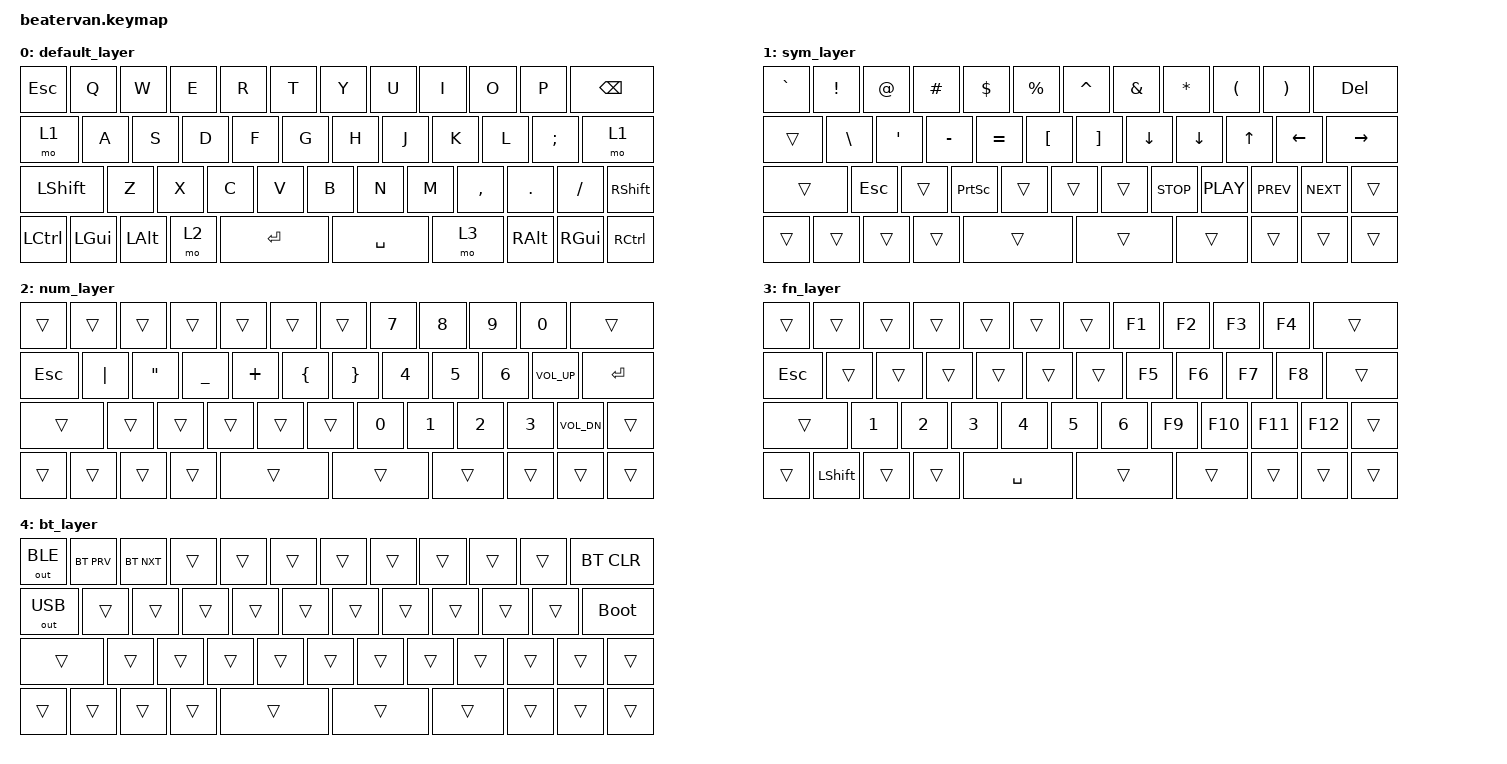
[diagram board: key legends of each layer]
/*
 * Copyright (c) 2023 The ZMK Contributors
 *
 * SPDX-License-Identifier: MIT
 */

#include <behaviors.dtsi>
#include <dt-bindings/zmk/bt.h>
#include <dt-bindings/zmk/keys.h>
#include <dt-bindings/zmk/outputs.h>

/ {
    combos {
        compatible = "zmk,combos";

        combo_boot {
            key-positions = <0 11>;
            bindings = <&bootloader>;
        };

        combo_unlock {
            key-positions = <0 12>;
            bindings = <&studio_unlock>;
        };
    };

    conditional_layers {
        compatible = "zmk,conditional-layers";

        tri_layer {
            if-layers = <2 3>;
            then-layer = <4>;
        };
    };

    keymap {
        compatible = "zmk,keymap";

        default_layer {
            bindings = <
&kp ESC    &kp Q     &kp W     &kp E  &kp R  &kp T    &kp Y  &kp U      &kp I      &kp O     &kp P     &kp BSPC
&mo 1      &kp A     &kp S     &kp D  &kp F  &kp G    &kp H  &kp J      &kp K      &kp L     &kp SEMI  &mo 1
&kp LSHFT  &kp Z     &kp X     &kp C  &kp V  &kp B    &kp N  &kp M      &kp COMMA  &kp DOT   &kp FSLH  &kp RSHFT
&kp LCTRL  &kp LGUI  &kp LALT  &mo 2         &kp RET         &kp SPACE  &mo 3      &kp RALT  &kp RGUI  &kp RCTRL
            >;
        };

        sym_layer {
            bindings = <
&kp GRAVE  &kp EXCL  &kp AT   &kp HASH   &kp DLLR   &kp PRCNT  &kp CARET  &kp AMPS    &kp STAR    &kp LPAR    &kp RPAR    &kp DEL
&trans     &kp BSLH  &kp SQT  &kp MINUS  &kp EQUAL  &kp LBKT   &kp RBKT   &kp DOWN    &kp DOWN    &kp UP      &kp LEFT    &kp RIGHT
&trans     &kp ESC   &trans   &kp PSCRN  &trans     &trans     &trans     &kp C_STOP  &kp C_PLAY  &kp C_PREV  &kp C_NEXT  &trans
&trans     &trans    &trans   &trans                &trans                &trans      &trans      &trans      &trans      &trans
            >;
        };

        num_layer {
            bindings = <
&trans   &trans    &trans   &trans     &trans    &trans    &trans    &kp N7  &kp N8  &kp N9  &kp N0        &trans
&kp ESC  &kp PIPE  &kp DQT  &kp UNDER  &kp PLUS  &kp LBRC  &kp RBRC  &kp N4  &kp N5  &kp N6  &kp C_VOL_UP  &kp RET
&trans   &trans    &trans   &trans     &trans    &trans    &kp N0    &kp N1  &kp N2  &kp N3  &kp C_VOL_DN  &trans
&trans   &trans    &trans   &trans               &trans              &trans  &trans  &trans  &trans        &trans
            >;
        };

        fn_layer {
            bindings = <
&trans   &trans     &trans  &trans  &trans  &trans     &trans  &kp F1  &kp F2   &kp F3   &kp F4   &trans
&kp ESC  &trans     &trans  &trans  &trans  &trans     &trans  &kp F5  &kp F6   &kp F7   &kp F8   &trans
&trans   &kp N1     &kp N2  &kp N3  &kp N4  &kp N5     &kp N6  &kp F9  &kp F10  &kp F11  &kp F12  &trans
&trans   &kp LSHFT  &trans  &trans          &kp SPACE          &trans  &trans   &trans   &trans   &trans
            >;
        };

        bt_layer {
            bindings = <
&out OUT_BLE  &bt BT_PRV  &bt BT_NXT  &trans  &trans  &trans  &trans  &trans  &trans  &trans  &trans  &bt BT_CLR
&out OUT_USB  &trans      &trans      &trans  &trans  &trans  &trans  &trans  &trans  &trans  &trans  &bootloader
&trans        &trans      &trans      &trans  &trans  &trans  &trans  &trans  &trans  &trans  &trans  &trans
&trans        &trans      &trans      &trans          &trans          &trans  &trans  &trans  &trans  &trans
            >;
        };
    };
};
